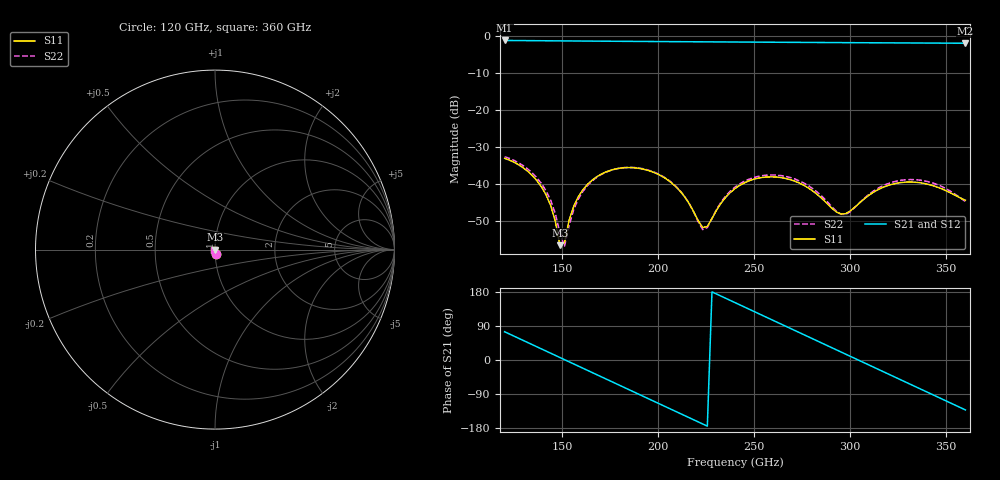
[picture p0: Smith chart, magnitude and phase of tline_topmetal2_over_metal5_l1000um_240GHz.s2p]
#  GHZ S DB R 50
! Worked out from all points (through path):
!   101 points, 120 GHz to 360 GHz, reference 50 ohm
!   highest |S21| = -1.11 dB at 120 GHz (marker M1); lowest = -1.9 dB at 360 GHz (marker M2)
!   group delay of S21, straight-line fit = 6.55 ps
!   lowest |S11| = -56.5 dB at 148.8 GHz (marker M3), VSWR 1.00, Z = 49.9 + j0.0435 ohm
!   |S11| at or under -10 dB: start of sweep to end of sweep
!   |S22| runs from -56.7 to -32.5 dB; largest |S21 - S12| = 1.5e-12
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120  -32.97 -77.8  -1.11 74.6  -1.11 74.6  -32.52 -79.2
132  -36.44 -108.0  -1.15 46.2  -1.15 46.2  -35.82 -109.5
139.2  -40.68 -128.1  -1.18 29.2  -1.18 29.2  -39.78 -129.7
144  -45.72 -145.6  -1.20 17.9  -1.20 17.9  -44.31 -146.8
148.8  -56.46 163.1  -1.22 6.6  -1.22 6.6  -53.18 175.0
151.2  -55.72 77.6  -1.23 0.9  -1.23 0.9  -56.69 103.6
156  -45.87 32.4  -1.25 -10.4  -1.25 -10.4  -46.80 35.4
160.8  -41.42 15.2  -1.27 -21.7  -1.27 -21.7  -41.87 15.8
170.4  -37.20 -11.6  -1.30 -44.4  -1.30 -44.4  -37.32 -12.1
182.4  -35.49 -42.8  -1.34 -72.7  -1.34 -72.7  -35.46 -43.6
201.6  -37.72 -94.4  -1.41 -118.0  -1.41 -118.0  -37.59 -95.2
213.6  -43.23 -135.0  -1.45 -146.3  -1.45 -146.3  -43.15 -135.2
223.2  -51.68 144.3  -1.48 -168.9  -1.48 -168.9  -52.20 142.1
240  -41.13 15.9  -1.53 151.4  -1.53 151.4  -40.74 12.6
252  -38.32 -21.3  -1.56 123.1  -1.56 123.1  -37.85 -24.0
261.6  -38.02 -49.5  -1.59 100.5  -1.59 100.5  -37.49 -51.8
280.8  -41.89 -113.5  -1.65 55.2  -1.65 55.2  -41.26 -114.2
297.6  -47.92 129.9  -1.70 15.5  -1.70 15.5  -48.10 129.8
309.6  -42.99 51.4  -1.73 -12.8  -1.73 -12.8  -42.76 47.2
321.6  -40.00 6.0  -1.76 -41.1  -1.76 -41.1  -39.46 2.2
340.8  -40.00 -58.8  -1.81 -86.4  -1.81 -86.4  -39.29 -60.3
360  -44.28 -147.2  -1.86 -131.7  -1.86 -131.7  -44.63 -144.3
